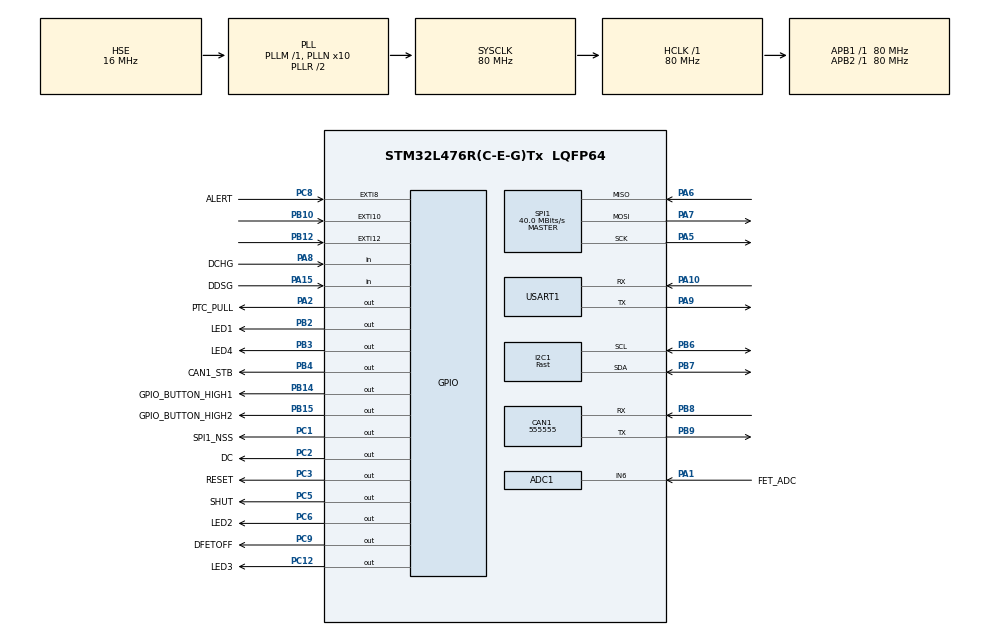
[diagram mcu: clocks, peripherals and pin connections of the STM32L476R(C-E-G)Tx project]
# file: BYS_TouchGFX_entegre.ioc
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ADC1.Channel-4\#ChannelRegularConversion=ADC_CHANNEL_6
ADC1.ClockPrescaler=ADC_CLOCK_ASYNC_DIV4
ADC1.NbrOfConversionFlag=1
ADC1.OffsetNumber-4\#ChannelRegularConversion=ADC_OFFSET_NONE
ADC1.Rank-4\#ChannelRegularConversion=1
ADC1.SamplingTime-4\#ChannelRegularConversion=ADC_SAMPLETIME_24CYCLES_5
ADC1.master=1
CAN1.BS1=CAN_BS1_4TQ
CAN1.BS2=CAN_BS2_4TQ
CAN1.CalculateBaudRate=555555
CAN1.CalculateTimeBit=1800
CAN1.CalculateTimeQuantum=200.0
Dma.Request0=SPI1_TX
Dma.SPI1_TX.0.Direction=DMA_MEMORY_TO_PERIPH
Dma.SPI1_TX.0.Instance=DMA1_Channel3
Dma.SPI1_TX.0.MemDataAlignment=DMA_MDATAALIGN_BYTE
Dma.SPI1_TX.0.MemInc=DMA_MINC_ENABLE
Dma.SPI1_TX.0.Mode=DMA_NORMAL
Dma.SPI1_TX.0.PeriphDataAlignment=DMA_PDATAALIGN_BYTE
Dma.SPI1_TX.0.PeriphInc=DMA_PINC_DISABLE
Dma.SPI1_TX.0.Priority=DMA_PRIORITY_LOW
I2C1.CustomTiming=Disabled
I2C1.I2C_Speed_Mode=I2C_Fast
I2C1.Speed=400
I2C1.Timing=0x00F12981
Mcu.Family=STM32L4
Mcu.Name=STM32L476R(C-E-G)Tx
Mcu.Package=LQFP64
NVIC.DMA1_Channel3_IRQn=true\:0\:0\:false\:false\:true\:false\:true\:true
NVIC.EXTI15_10_IRQn=true\:0\:0\:false\:false\:true\:true\:true\:true
NVIC.EXTI9_5_IRQn=true\:0\:0\:false\:false\:true\:true\:true\:true
NVIC.PriorityGroup=NVIC_PRIORITYGROUP_4
NVIC.SPI1_IRQn=true\:0\:0\:false\:false\:true\:true\:true\:true
NVIC.TIM2_IRQn=true\:0\:0\:false\:false\:true\:true\:true\:true
NVIC.TIM8_UP_IRQn=true\:15\:0\:false\:false\:true\:false\:true\:true
NVIC.TimeBase=TIM8_UP_IRQn
NVIC.TimeBaseIP=TIM8
PA1.GPIO_Label=FET_ADC
PA1.Signal=ADCx_IN6
PA10.Mode=Asynchronous
PA10.Signal=USART1_RX
PA13\ (JTMS-SWDIO).Mode=Serial_Wire
PA13\ (JTMS-SWDIO).Signal=SYS_JTMS-SWDIO
PA14\ (JTCK-SWCLK).Mode=Serial_Wire
PA14\ (JTCK-SWCLK).Signal=SYS_JTCK-SWCLK
PA15\ (JTDI).GPIO_Label=DDSG
PA15\ (JTDI).GPIO_PuPd=GPIO_PULLDOWN
PA15\ (JTDI).Signal=GPIO_Input
PA2.GPIO_Label=PTC_PULL
PA2.GPIO_PuPd=GPIO_PULLDOWN
PA2.PinState=GPIO_PIN_RESET
PA2.Signal=GPIO_Output
PA5.Mode=Full_Duplex_Master
PA5.Signal=SPI1_SCK
PA6.Mode=Full_Duplex_Master
PA6.Signal=SPI1_MISO
PA7.Mode=Full_Duplex_Master
PA7.Signal=SPI1_MOSI
PA8.GPIO_Label=DCHG
PA8.GPIO_PuPd=GPIO_PULLDOWN
PA8.Signal=GPIO_Input
PA9.Mode=Asynchronous
PA9.Signal=USART1_TX
PB10.GPIO_PuPd=GPIO_PULLDOWN
PB10.Signal=GPXTI10
PB12.GPIO_PuPd=GPIO_PULLDOWN
PB12.Signal=GPXTI12
PB14.GPIO_Label=GPIO_BUTTON_HIGH1
PB14.GPIO_PuPd=GPIO_PULLDOWN
PB14.PinState=GPIO_PIN_SET
PB14.Signal=GPIO_Output
PB15.GPIO_Label=GPIO_BUTTON_HIGH2
PB15.GPIO_PuPd=GPIO_PULLDOWN
PB15.PinState=GPIO_PIN_SET
PB15.Signal=GPIO_Output
PB2.GPIO_Label=LED1
PB2.GPIO_PuPd=GPIO_PULLDOWN
PB2.Signal=GPIO_Output
PB3\ (JTDO-TRACESWO).GPIO_Label=LED4
PB3\ (JTDO-TRACESWO).GPIO_PuPd=GPIO_PULLDOWN
PB3\ (JTDO-TRACESWO).Signal=GPIO_Output
PB4\ (NJTRST).GPIO_Label=CAN1_STB
PB4\ (NJTRST).Signal=GPIO_Output
PB6.Mode=I2C
PB6.Signal=I2C1_SCL
PB7.Mode=I2C
PB7.Signal=I2C1_SDA
PB8.Mode=CAN_Activate
PB8.Signal=CAN1_RX
PB9.Mode=CAN_Activate
PB9.Signal=CAN1_TX
PC1.GPIO_Label=SPI1_NSS
PC1.Signal=GPIO_Output
PC12.GPIO_Label=LED3
PC12.GPIO_PuPd=GPIO_PULLDOWN
PC12.Signal=GPIO_Output
PC2.GPIO_Label=DC
PC2.Signal=GPIO_Output
PC3.GPIO_Label=RESET
PC3.Signal=GPIO_Output
PC5.GPIO_Label=SHUT
PC5.Signal=GPIO_Output
PC6.GPIO_Label=LED2
PC6.GPIO_PuPd=GPIO_PULLDOWN
PC6.Signal=GPIO_Output
PC8.GPIO_Label=ALERT
PC8.Signal=GPXTI8
PC9.GPIO_Label=DFETOFF
PC9.GPIO_PuPd=GPIO_NOPULL
PC9.Signal=GPIO_Output
PH0-OSC_IN\ (PH0).Mode=HSE-External-Oscillator
PH0-OSC_IN\ (PH0).Signal=RCC_OSC_IN
PH1-OSC_OUT\ (PH1).Mode=HSE-External-Oscillator
PH1-OSC_OUT\ (PH1).Signal=RCC_OSC_OUT
ProjectManager.HeapSize=0x200
ProjectManager.StackSize=0x400
ProjectManager.TargetToolchain=STM32CubeIDE
RCC.ADCFreq_Value=64000000
RCC.AHBFreq_Value=80000000
RCC.APB1Freq_Value=80000000
RCC.APB1TimFreq_Value=80000000
RCC.APB2Freq_Value=80000000
RCC.APB2TimFreq_Value=80000000
RCC.CortexFreq_Value=80000000
RCC.HCLKFreq_Value=80000000
RCC.HSE_VALUE=16000000
RCC.HSI_VALUE=16000000
RCC.LSE_VALUE=32768
RCC.MSI_VALUE=4000000
RCC.PLLN=10
RCC.PLLSourceVirtual=RCC_PLLSOURCE_HSE
RCC.SYSCLKFreq_VALUE=80000000
RCC.SYSCLKSource=RCC_SYSCLKSOURCE_PLLCLK
RCC.USBFreq_Value=64000000
RCC.VCOOutputFreq_Value=160000000
SH.ADCx_IN6.0=ADC1_IN6,IN6-Single-Ended
SPI1.BaudRatePrescaler=SPI_BAUDRATEPRESCALER_2
SPI1.CalculateBaudRate=40.0 MBits/s
SPI1.DataSize=SPI_DATASIZE_8BIT
SPI1.Direction=SPI_DIRECTION_2LINES
SPI1.Mode=SPI_MODE_MASTER
SPI1.VirtualType=VM_MASTER
STMicroelectronics.X-CUBE-TOUCHGFX.4.24.1.ApplicationCcGraphicsJjApplication=TouchGFXOoGenerator
STMicroelectronics.X-CUBE-TOUCHGFX.4.24.1.tgfx_buffering_strategy=Partial
STMicroelectronics.X-CUBE-TOUCHGFX.4.24.1.tgfx_custom_height=240
STMicroelectronics.X-CUBE-TOUCHGFX.4.24.1.tgfx_custom_width=320
STMicroelectronics.X-CUBE-TOUCHGFX.4.24.1_IsPackSelfContextualization=true
TIM1.Prescaler=80-1
TIM2.Period=30769-1
TIM2.Prescaler=80-1
USART1.VirtualMode-Asynchronous=VM_ASYNC
VP_CRC_VS_CRC.Mode=CRC_Activate
VP_STMicroelectronics.X-CUBE-TOUCHGFX_VS_GraphicsJjApplication_4.24.1.Mode=GraphicsJjApplication
VP_SYS_VS_tim8.Mode=TIM8
VP_TIM1_VS_ClockSourceINT.Mode=Internal
VP_TIM2_VS_ClockSourceINT.Mode=Internal
board=custom

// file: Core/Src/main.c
/* USER CODE BEGIN Header */
/**
  ******************************************************************************
  * @file           : main.c
  * @brief          : Main program body
  ******************************************************************************
  * @attention
  *
  * Copyright (c) 2024 STMicroelectronics.
  * All rights reserved.
  *
  * This software is licensed under terms that can be found in the LICENSE file
  * in the root directory of this software component.
  * If no LICENSE file comes with this software, it is provided AS-IS.
  *
  ******************************************************************************
  */
/* USER CODE END Header */
#include "main.h"
#include "app_touchgfx.h"

/* USER CODE BEGIN Includes */

#include <stdio.h>
#include "ili9341.h"
#include "BQ76952.h"

/* USER CODE END Includes */

/* USER CODE BEGIN PD */

#define DEV_ADDR  0x10			    // BQ769x2 address is 0x10 including R/W bit or 0x8 as 7-bit address
#define CRC_Mode 0  		    	// 0 for disabled, 1 for enabled
#define MAX_BUFFER_SIZE 10
#define R 0						    // Read; Used in DirectCommands and Subcommands functions
#define W 1 				    	// Write; Used in DirectCommands and Subcommands functions
#define W2 2 				     	// Write data with two bytes; Used in Subcommands function

uint16_t AlarmBits = 0x00;
uint16_t Stack_Voltage = 0x00;
uint16_t Pack_Voltage = 0x00;
uint16_t LD_Voltage = 0x00;
int16_t Pack_Current = 0x00;

uint8_t value_SafetyStatusA;  						// Safety Status Register A
uint8_t value_SafetyStatusB;  						// Safety Status Register B
uint8_t value_SafetyStatusC;  						// Safety Status Register C
uint8_t value_PFStatusA;   							// Permanent Fail Status Register A
uint8_t value_PFStatusB;  							// Permanent Fail Status Register B
uint8_t value_PFStatusC;   							// Permanent Fail Status Register C
uint8_t FET_Status;  								// FET Status register contents  - Shows states of FETs
uint16_t CB_ActiveCells;  							// Cell Balancing Active Cells

uint8_t	UV_Fault = 0;   								   	 // under-voltage fault state
uint8_t	OV_Fault = 0;  										 // over-voltage fault state
uint8_t	SCD_Fault = 0;									     // short-circuit fault state
uint8_t	OCD_Fault = 0;  									 // over-current fault state
uint8_t ProtectionsTriggered = 0;                            // Set to 1 if any protection triggers

uint8_t LD_ON = 0;					                         // Load Detect status bit
uint8_t DSG = 0;  					                         // discharge FET state
uint8_t CHG = 0;  					                         // charge FET state
uint8_t PCHG = 0; 					                         // pre-charge FET state
uint8_t PDSG = 0; 					                         // pre-discharge FET state
uint8_t DDSG_Pin_Status = 0; 								//(+-+-+) FET STATUS register
uint8_t DCHG_Pin_Status = 0;								//(+-+-+) FET STATUS register
uint8_t ALERT_Pin_Status = 0;								//(+-+-+) FET STATUS register

uint32_t AccumulatedCharge_Int; 							// in BQ769x2_READPASSQ func
uint32_t AccumulatedCharge_Frac;							// in BQ769x2_READPASSQ func
uint32_t AccumulatedCharge_Time;

uint16_t CellVoltage [16] = {0x00,0x00,0x00,0x00,0x00,0x00,0x00,0x00,0x00,0x00,0x00,0x00,0x00,0x00,0x00,0x00};

/* USER CODE END PD */

ADC_HandleTypeDef hadc1;

CAN_HandleTypeDef hcan1;

CRC_HandleTypeDef hcrc;

I2C_HandleTypeDef hi2c1;

SPI_HandleTypeDef hspi1;
DMA_HandleTypeDef hdma_spi1_tx;

TIM_HandleTypeDef htim1;
TIM_HandleTypeDef htim2;

UART_HandleTypeDef huart1;

void SystemClock_Config(void);
static void MX_GPIO_Init(void);
static void MX_DMA_Init(void);
static void MX_SPI1_Init(void);
static void MX_CRC_Init(void);
static void MX_TIM2_Init(void);
static void MX_USART1_UART_Init(void);
static void MX_ADC1_Init(void);
static void MX_CAN1_Init(void);
static void MX_I2C1_Init(void);
static void MX_TIM1_Init(void);

/* USER CODE BEGIN 0 */

// ********************************* End of BQ769x2 Measurement Commands   *****************************************

__IO uint8_t User_ButtonState1 = 0;
__IO uint8_t User_ButtonState2 = 0;

/* touchgfx variables start */
float cell1 = 0.000;
float cell2 = 0.000;
float cell3 = 0.000;
float cell4 = 0.000;
float cell5 = 0.000;
float cell6 = 0.000;
float cell7 = 0.000;
float cell8 = 0.000;
float cell9 = 0.000;
float cell10 = 0.000;
float cell11 = 0.000;
float cell12 = 0.000;
float cell13 = 0.000;
float cell14 = 0.000;
float cell15 = 0.000;
float cell16 = 0.000;
float totalcell;
int maxCellDiff = 0;
float packVoltage = 0.000;
int loadDetectVoltage;

uint16_t cellBalancingStatus;	//default alarm mask reg
float Temperature [4] = {0,0,0,0};

float temperatureTS1;
float temperatureTS3;
float temperatureHDQ;
float temperatureCFETOFF;
float temperatureMosfet = 44.200;

int capacityIntro;
int chargeCurrent;
int dischargeCurrent;

int SoCstate, SoHstate;

/* touchgfx variables end */

uint32_t DebounceCurrentTime;
uint32_t DebouncePreviousTime;

/* USER CODE END 0 */

int main(void)
{

  /* MCU Configuration--------------------------------------------------------*/

  /* Reset of all peripherals, Initializes the Flash interface and the Systick. */
  HAL_Init();

  /* Configure the system clock */
  SystemClock_Config();

  /* Initialize all configured peripherals */
  MX_GPIO_Init();
  MX_DMA_Init();
  MX_SPI1_Init();
  MX_CRC_Init();
  MX_TIM2_Init();
  MX_USART1_UART_Init();
  MX_ADC1_Init();
  MX_CAN1_Init();
  MX_I2C1_Init();
  MX_TIM1_Init();
  MX_TouchGFX_Init();
  /* USER CODE BEGIN 2 */

  // Start timer
  HAL_TIM_Base_Start(&htim1);
  HAL_TIM_Base_Start_IT(&htim2);
  ILI9341_Init();

  HAL_GPIO_WritePin(GPIOC, GPIO_PIN_5, GPIO_PIN_RESET);  //RST_SHUT
  HAL_GPIO_WritePin(GPIOC, GPIO_PIN_9, GPIO_PIN_RESET);  //DFETOFF
  delayUS(10000);

  CommandSubcommands(BQ769x2_RESET);
  delayUS(60000);
  BQ769x2_Init();
  delayUS(10000);
  CommandSubcommands(FET_ENABLE);
  delayUS(10000);
  CommandSubcommands(SLEEP_DISABLE);

  delayUS(60000); delayUS(60000); delayUS(60000); delayUS(60000);  //wait to start measurements after FETs close

  if(HAL_I2C_IsDeviceReady(&hi2c1, 0x10, 1, 100)== HAL_OK)
   {
 	  HAL_GPIO_WritePin(GPIOB, GPIO_PIN_3, GPIO_PIN_SET);
 	 HAL_GPIO_WritePin(GPIOC, GPIO_PIN_12, GPIO_PIN_RESET);

   }
   else
   {
 	  HAL_GPIO_WritePin(GPIOC, GPIO_PIN_12, GPIO_PIN_SET);
 	 HAL_GPIO_WritePin(GPIOB, GPIO_PIN_3, GPIO_PIN_RESET);

   }

  /* USER CODE END 2 */

  /* Infinite loop */
  while (1)
  {

  MX_TouchGFX_Process();
    /* USER CODE BEGIN 3 */

  		AlarmBits = BQ769x2_ReadAlarmStatus();				//default alarm mask registeri fonksiyonların durumuna bakılır cb gibi
  		cellBalancingStatus = (AlarmBits & 0x04);
  		BQ769x2_ReadFETStatus();

  		if (AlarmBits & 0x80) {  							// 7.bit FULLSCAN'ın tamamlanıp tamamlanmadığını kontrol et.
        		BQ769x2_ReadAllVoltages();

        		Pack_Current = BQ769x2_ReadCurrent();
        		Temperature[0] = BQ769x2_ReadTemperature(TS1Temperature);
        		Temperature[1] = BQ769x2_ReadTemperature(TS3Temperature);
        		Temperature[2] = BQ769x2_ReadTemperature(HDQTemperature);		//(+-+-+)  EKLENDİ
        		Temperature[3] = BQ769x2_ReadTemperature(CFETOFFTemperature);	//(+-+-+)  EKLENDİ
        		DirectCommands(AlarmStatus, 0x0080, W);  						// fullscan bitini clear et         ?????

        		cell1 = (float) (CellVoltage[0] / 1000.0f);
        		cell2 = (float) (CellVoltage[1] / 1000.0f);
        		cell3 = (float) (CellVoltage[2] / 1000.0f);
        		cell4 = (float) (CellVoltage[3] / 1000.0f);
        		cell5 = (float) (CellVoltage[4] / 1000.0f);
        		cell6 = (float) (CellVoltage[5] / 1000.0f);
        		cell7 = (float) (CellVoltage[6] / 1000.0f);
        		cell8 = (float) (CellVoltage[7] / 1000.0f);
        		cell9 = (float) (CellVoltage[8] / 1000.0f);
        		cell10 = (float) (CellVoltage[9] / 1000.0f);
        		cell11 = (float) (CellVoltage[10] / 1000.0f);
        		cell12 = (float) (CellVoltage[11] / 1000.0f);
        		cell13 = (float) (CellVoltage[12] / 1000.0f);
        		cell14 = (float) (CellVoltage[13] / 1000.0f);
        		cell15 = (float) (CellVoltage[14] / 1000.0f);
        		cell16 = (float) (CellVoltage[15] / 1000.0f);
        		totalcell = (float) (Stack_Voltage / 1000.0f);					//tamam

        		packVoltage = (float) (Pack_Voltage / 1000.0f);				//tamam
        		loadDetectVoltage = (float) (LD_Voltage / 1000.0f);

        		maxCellDiff = find_max_difference(CellVoltage, 16);			//hücreler arası max fark voltajı

        		temperatureTS1 = Temperature[0];
        		temperatureTS3 = Temperature[1];
        		temperatureHDQ = Temperature[2];
        		temperatureCFETOFF = Temperature[3];

        		if (Pack_Current > 0) {
        		    chargeCurrent = Pack_Current;
        		    dischargeCurrent = 0;
        		}

        		else if (Pack_Current < 0) {
        		    dischargeCurrent = -Pack_Current;
        		    chargeCurrent = 0;
        		    }

        		else {
        		    chargeCurrent = 0;
        		    dischargeCurrent = 0;
        		}

  		}

  		if (AlarmBits & 0xC000) {  							// Eğer Alarm status registerinda safety status bitleri görünüyorsa SSBC SSA bitleri KONTROLÜ SAFETY STATUS A B C
  			BQ769x2_ReadSafetyStatus(); 					// protectiontrigger oku
  			if (ProtectionsTriggered & 1) {
  				HAL_GPIO_WritePin(GPIOB,GPIO_PIN_2 , GPIO_PIN_SET); }	// protection triggerlandığında led aç PC12 LED 3
  				DirectCommands(AlarmStatus, 0xF800, W);				    // Koruma durumu alarm bitlerini sıfırla    ?????
  			}
  		else
  		{
  			if (ProtectionsTriggered & 1) {
  				BQ769x2_ReadSafetyStatus();
  				if (!(ProtectionsTriggered & 1))
  				{
  					HAL_GPIO_WritePin(GPIOB, GPIO_PIN_2, GPIO_PIN_RESET);
  				}
  			}		 // Güvenlik Durumu resetlendiğinde (koruma koşulu artık mevcut değilse) LED'i kapat  PC12 LED 3
  		}

  		delayUS(20000);  // 20ms'de bir döngüyü devam ettir

  }
  /* USER CODE END 3 */
}

void SystemClock_Config(void)
{
  RCC_OscInitTypeDef RCC_OscInitStruct = {0};
  RCC_ClkInitTypeDef RCC_ClkInitStruct = {0};

  /** Configure the main internal regulator output voltage
  */
  if (HAL_PWREx_ControlVoltageScaling(PWR_REGULATOR_VOLTAGE_SCALE1) != HAL_OK)
  {
    Error_Handler();
  }

  /** Initializes the RCC Oscillators according to the specified parameters
  * in the RCC_OscInitTypeDef structure.
  */
  RCC_OscInitStruct.OscillatorType = RCC_OSCILLATORTYPE_HSE;
  RCC_OscInitStruct.HSEState = RCC_HSE_ON;
  RCC_OscInitStruct.PLL.PLLState = RCC_PLL_ON;
  RCC_OscInitStruct.PLL.PLLSource = RCC_PLLSOURCE_HSE;
  RCC_OscInitStruct.PLL.PLLM = 1;
  RCC_OscInitStruct.PLL.PLLN = 10;
  RCC_OscInitStruct.PLL.PLLP = RCC_PLLP_DIV7;
  RCC_OscInitStruct.PLL.PLLQ = RCC_PLLQ_DIV2;
  RCC_OscInitStruct.PLL.PLLR = RCC_PLLR_DIV2;
  if (HAL_RCC_OscConfig(&RCC_OscInitStruct) != HAL_OK)
  {
    Error_Handler();
  }

  /** Initializes the CPU, AHB and APB buses clocks
  */
  RCC_ClkInitStruct.ClockType = RCC_CLOCKTYPE_HCLK|RCC_CLOCKTYPE_SYSCLK
                              |RCC_CLOCKTYPE_PCLK1|RCC_CLOCKTYPE_PCLK2;
  RCC_ClkInitStruct.SYSCLKSource = RCC_SYSCLKSOURCE_PLLCLK;
  RCC_ClkInitStruct.AHBCLKDivider = RCC_SYSCLK_DIV1;
  RCC_ClkInitStruct.APB1CLKDivider = RCC_HCLK_DIV1;
  RCC_ClkInitStruct.APB2CLKDivider = RCC_HCLK_DIV1;

  if (HAL_RCC_ClockConfig(&RCC_ClkInitStruct, FLASH_LATENCY_4) != HAL_OK)
  {
    Error_Handler();
  }
}

static void MX_ADC1_Init(void)
{

  ADC_MultiModeTypeDef multimode = {0};
  ADC_ChannelConfTypeDef sConfig = {0};

  /** Common config
  */
  hadc1.Instance = ADC1;
  hadc1.Init.ClockPrescaler = ADC_CLOCK_ASYNC_DIV4;
  hadc1.Init.Resolution = ADC_RESOLUTION_12B;
  hadc1.Init.DataAlign = ADC_DATAALIGN_RIGHT;
  hadc1.Init.ScanConvMode = ADC_SCAN_DISABLE;
  hadc1.Init.EOCSelection = ADC_EOC_SINGLE_CONV;
  hadc1.Init.LowPowerAutoWait = DISABLE;
  hadc1.Init.ContinuousConvMode = DISABLE;
  hadc1.Init.NbrOfConversion = 1;
  hadc1.Init.DiscontinuousConvMode = DISABLE;
  hadc1.Init.ExternalTrigConv = ADC_SOFTWARE_START;
  hadc1.Init.ExternalTrigConvEdge = ADC_EXTERNALTRIGCONVEDGE_NONE;
  hadc1.Init.DMAContinuousRequests = DISABLE;
  hadc1.Init.Overrun = ADC_OVR_DATA_PRESERVED;
  hadc1.Init.OversamplingMode = DISABLE;
  if (HAL_ADC_Init(&hadc1) != HAL_OK)
  {
    Error_Handler();
  }

  /** Configure the ADC multi-mode
  */
  multimode.Mode = ADC_MODE_INDEPENDENT;
  if (HAL_ADCEx_MultiModeConfigChannel(&hadc1, &multimode) != HAL_OK)
  {
    Error_Handler();
  }

  /** Configure Regular Channel
  */
  sConfig.Channel = ADC_CHANNEL_6;
  sConfig.Rank = ADC_REGULAR_RANK_1;
  sConfig.SamplingTime = ADC_SAMPLETIME_24CYCLES_5;
  sConfig.SingleDiff = ADC_SINGLE_ENDED;
  sConfig.OffsetNumber = ADC_OFFSET_NONE;
  sConfig.Offset = 0;
  if (HAL_ADC_ConfigChannel(&hadc1, &sConfig) != HAL_OK)
  {
    Error_Handler();
  }

}

static void MX_CAN1_Init(void)
{

  hcan1.Instance = CAN1;
  hcan1.Init.Prescaler = 16;
  hcan1.Init.Mode = CAN_MODE_NORMAL;
  hcan1.Init.SyncJumpWidth = CAN_SJW_1TQ;
  hcan1.Init.TimeSeg1 = CAN_BS1_4TQ;
  hcan1.Init.TimeSeg2 = CAN_BS2_4TQ;
  hcan1.Init.TimeTriggeredMode = DISABLE;
  hcan1.Init.AutoBusOff = DISABLE;
  hcan1.Init.AutoWakeUp = DISABLE;
  hcan1.Init.AutoRetransmission = DISABLE;
  hcan1.Init.ReceiveFifoLocked = DISABLE;
  hcan1.Init.TransmitFifoPriority = DISABLE;
  if (HAL_CAN_Init(&hcan1) != HAL_OK)
  {
    Error_Handler();
  }

}

static void MX_CRC_Init(void)
{

  hcrc.Instance = CRC;
  hcrc.Init.DefaultPolynomialUse = DEFAULT_POLYNOMIAL_ENABLE;
  hcrc.Init.DefaultInitValueUse = DEFAULT_INIT_VALUE_ENABLE;
  hcrc.Init.InputDataInversionMode = CRC_INPUTDATA_INVERSION_NONE;
  hcrc.Init.OutputDataInversionMode = CRC_OUTPUTDATA_INVERSION_DISABLE;
  hcrc.InputDataFormat = CRC_INPUTDATA_FORMAT_BYTES;
  if (HAL_CRC_Init(&hcrc) != HAL_OK)
  {
    Error_Handler();
  }

}

static void MX_I2C1_Init(void)
{

  hi2c1.Instance = I2C1;
  hi2c1.Init.Timing = 0x00F12981;
  hi2c1.Init.OwnAddress1 = 0;
  hi2c1.Init.AddressingMode = I2C_ADDRESSINGMODE_7BIT;
  hi2c1.Init.DualAddressMode = I2C_DUALADDRESS_DISABLE;
  hi2c1.Init.OwnAddress2 = 0;
  hi2c1.Init.OwnAddress2Masks = I2C_OA2_NOMASK;
  hi2c1.Init.GeneralCallMode = I2C_GENERALCALL_DISABLE;
  hi2c1.Init.NoStretchMode = I2C_NOSTRETCH_DISABLE;
  if (HAL_I2C_Init(&hi2c1) != HAL_OK)
  {
    Error_Handler();
  }

  /** Configure Analogue filter
  */
  if (HAL_I2CEx_ConfigAnalogFilter(&hi2c1, I2C_ANALOGFILTER_ENABLE) != HAL_OK)
  {
    Error_Handler();
  }

  /** Configure Digital filter
  */
  if (HAL_I2CEx_ConfigDigitalFilter(&hi2c1, 0) != HAL_OK)
  {
    Error_Handler();
  }

}

static void MX_SPI1_Init(void)
{

  /* SPI1 parameter configuration*/
  hspi1.Instance = SPI1;
  hspi1.Init.Mode = SPI_MODE_MASTER;
  hspi1.Init.Direction = SPI_DIRECTION_2LINES;
  hspi1.Init.DataSize = SPI_DATASIZE_8BIT;
  hspi1.Init.CLKPolarity = SPI_POLARITY_LOW;
  hspi1.Init.CLKPhase = SPI_PHASE_1EDGE;
  hspi1.Init.NSS = SPI_NSS_SOFT;
  hspi1.Init.BaudRatePrescaler = SPI_BAUDRATEPRESCALER_2;
  hspi1.Init.FirstBit = SPI_FIRSTBIT_MSB;
  hspi1.Init.TIMode = SPI_TIMODE_DISABLE;
  hspi1.Init.CRCCalculation = SPI_CRCCALCULATION_DISABLE;
  hspi1.Init.CRCPolynomial = 7;
  hspi1.Init.CRCLength = SPI_CRC_LENGTH_DATASIZE;
  hspi1.Init.NSSPMode = SPI_NSS_PULSE_ENABLE;
  if (HAL_SPI_Init(&hspi1) != HAL_OK)
  {
    Error_Handler();
  }

}

static void MX_TIM1_Init(void)
{

  TIM_ClockConfigTypeDef sClockSourceConfig = {0};
  TIM_MasterConfigTypeDef sMasterConfig = {0};

  htim1.Instance = TIM1;
  htim1.Init.Prescaler = 80-1;
  htim1.Init.CounterMode = TIM_COUNTERMODE_UP;
  htim1.Init.Period = 65535;
  htim1.Init.ClockDivision = TIM_CLOCKDIVISION_DIV1;
  htim1.Init.RepetitionCounter = 0;
  htim1.Init.AutoReloadPreload = TIM_AUTORELOAD_PRELOAD_DISABLE;
  if (HAL_TIM_Base_Init(&htim1) != HAL_OK)
  {
    Error_Handler();
  }
  sClockSourceConfig.ClockSource = TIM_CLOCKSOURCE_INTERNAL;
  if (HAL_TIM_ConfigClockSource(&htim1, &sClockSourceConfig) != HAL_OK)
  {
    Error_Handler();
  }
  sMasterConfig.MasterOutputTrigger = TIM_TRGO_RESET;
  sMasterConfig.MasterOutputTrigger2 = TIM_TRGO2_RESET;
  sMasterConfig.MasterSlaveMode = TIM_MASTERSLAVEMODE_DISABLE;
  if (HAL_TIMEx_MasterConfigSynchronization(&htim1, &sMasterConfig) != HAL_OK)
  {
    Error_Handler();
  }

}

static void MX_TIM2_Init(void)
{

  TIM_ClockConfigTypeDef sClockSourceConfig = {0};
  TIM_MasterConfigTypeDef sMasterConfig = {0};

  htim2.Instance = TIM2;
  htim2.Init.Prescaler = 80-1;
  htim2.Init.CounterMode = TIM_COUNTERMODE_UP;
  htim2.Init.Period = 30769-1;
  htim2.Init.ClockDivision = TIM_CLOCKDIVISION_DIV1;
  htim2.Init.AutoReloadPreload = TIM_AUTORELOAD_PRELOAD_DISABLE;
  if (HAL_TIM_Base_Init(&htim2) != HAL_OK)
  {
    Error_Handler();
  }
  sClockSourceConfig.ClockSource = TIM_CLOCKSOURCE_INTERNAL;
  if (HAL_TIM_ConfigClockSource(&htim2, &sClockSourceConfig) != HAL_OK)
  {
    Error_Handler();
  }
  sMasterConfig.MasterOutputTrigger = TIM_TRGO_RESET;
  sMasterConfig.MasterSlaveMode = TIM_MASTERSLAVEMODE_DISABLE;
  if (HAL_TIMEx_MasterConfigSynchronization(&htim2, &sMasterConfig) != HAL_OK)
  {
    Error_Handler();
  }

}

static void MX_USART1_UART_Init(void)
{

  huart1.Instance = USART1;
  huart1.Init.BaudRate = 115200;
  huart1.Init.WordLength = UART_WORDLENGTH_8B;
  huart1.Init.StopBits = UART_STOPBITS_1;
  huart1.Init.Parity = UART_PARITY_NONE;
  huart1.Init.Mode = UART_MODE_TX_RX;
  huart1.Init.HwFlowCtl = UART_HWCONTROL_NONE;
  huart1.Init.OverSampling = UART_OVERSAMPLING_16;
  huart1.Init.OneBitSampling = UART_ONE_BIT_SAMPLE_DISABLE;
  huart1.AdvancedInit.AdvFeatureInit = UART_ADVFEATURE_NO_INIT;
  if (HAL_UART_Init(&huart1) != HAL_OK)
  {
    Error_Handler();
  }

}

static void MX_DMA_Init(void)
{

  /* DMA controller clock enable */
  __HAL_RCC_DMA1_CLK_ENABLE();

  /* DMA interrupt init */
  /* DMA1_Channel3_IRQn interrupt configuration */
  HAL_NVIC_SetPriority(DMA1_Channel3_IRQn, 0, 0);
  HAL_NVIC_EnableIRQ(DMA1_Channel3_IRQn);

}

static void MX_GPIO_Init(void)
{
  GPIO_InitTypeDef GPIO_InitStruct = {0};

  /* GPIO Ports Clock Enable */
  __HAL_RCC_GPIOH_CLK_ENABLE();
  __HAL_RCC_GPIOC_CLK_ENABLE();
  __HAL_RCC_GPIOA_CLK_ENABLE();
  __HAL_RCC_GPIOB_CLK_ENABLE();

  /*Configure GPIO pin Output Level */
  HAL_GPIO_WritePin(GPIOC, SPI1_NSS_Pin|DC_Pin|RESET_Pin|SHUT_Pin
                          |LED2_Pin|DFETOFF_Pin|LED3_Pin, GPIO_PIN_RESET);

  /*Configure GPIO pin Output Level */
  HAL_GPIO_WritePin(PTC_PULL_GPIO_Port, PTC_PULL_Pin, GPIO_PIN_RESET);

  /*Configure GPIO pin Output Level */
  HAL_GPIO_WritePin(GPIOB, LED1_Pin|LED4_Pin|CAN1_STB_Pin, GPIO_PIN_RESET);

  /*Configure GPIO pin Output Level */
  HAL_GPIO_WritePin(GPIOB, GPIO_BUTTON_HIGH1_Pin|GPIO_BUTTON_HIGH2_Pin, GPIO_PIN_SET);

  /*Configure GPIO pins : SPI1_NSS_Pin DC_Pin RESET_Pin SHUT_Pin
                           DFETOFF_Pin */
  GPIO_InitStruct.Pin = SPI1_NSS_Pin|DC_Pin|RESET_Pin|SHUT_Pin
                          |DFETOFF_Pin;
  GPIO_InitStruct.Mode = GPIO_MODE_OUTPUT_PP;
  GPIO_InitStruct.Pull = GPIO_NOPULL;
  GPIO_InitStruct.Speed = GPIO_SPEED_FREQ_LOW;
  HAL_GPIO_Init(GPIOC, &GPIO_InitStruct);

  /*Configure GPIO pin : PTC_PULL_Pin */
  GPIO_InitStruct.Pin = PTC_PULL_Pin;
  GPIO_InitStruct.Mode = GPIO_MODE_OUTPUT_PP;
  GPIO_InitStruct.Pull = GPIO_PULLDOWN;
  GPIO_InitStruct.Speed = GPIO_SPEED_FREQ_LOW;
  HAL_GPIO_Init(PTC_PULL_GPIO_Port, &GPIO_InitStruct);

  /*Configure GPIO pins : LED1_Pin GPIO_BUTTON_HIGH1_Pin GPIO_BUTTON_HIGH2_Pin LED4_Pin */
  GPIO_InitStruct.Pin = LED1_Pin|GPIO_BUTTON_HIGH1_Pin|GPIO_BUTTON_HIGH2_Pin|LED4_Pin;
  GPIO_InitStruct.Mode = GPIO_MODE_OUTPUT_PP;
  GPIO_InitStruct.Pull = GPIO_PULLDOWN;
  GPIO_InitStruct.Speed = GPIO_SPEED_FREQ_LOW;
  HAL_GPIO_Init(GPIOB, &GPIO_InitStruct);

  /*Configure GPIO pins : PB10 PB12 */
  GPIO_InitStruct.Pin = GPIO_PIN_10|GPIO_PIN_12;
  GPIO_InitStruct.Mode = GPIO_MODE_IT_RISING;
  GPIO_InitStruct.Pull = GPIO_PULLDOWN;
  HAL_GPIO_Init(GPIOB, &GPIO_InitStruct);

  /*Configure GPIO pins : LED2_Pin LED3_Pin */
  GPIO_InitStruct.Pin = LED2_Pin|LED3_Pin;
  GPIO_InitStruct.Mode = GPIO_MODE_OUTPUT_PP;
  GPIO_InitStruct.Pull = GPIO_PULLDOWN;
  GPIO_InitStruct.Speed = GPIO_SPEED_FREQ_LOW;
  HAL_GPIO_Init(GPIOC, &GPIO_InitStruct);

  /*Configure GPIO pin : ALERT_Pin */
  GPIO_InitStruct.Pin = ALERT_Pin;
  GPIO_InitStruct.Mode = GPIO_MODE_IT_RISING;
  GPIO_InitStruct.Pull = GPIO_NOPULL;
  HAL_GPIO_Init(ALERT_GPIO_Port, &GPIO_InitStruct);

  /*Configure GPIO pins : DCHG_Pin DDSG_Pin */
  GPIO_InitStruct.Pin = DCHG_Pin|DDSG_Pin;
  GPIO_InitStruct.Mode = GPIO_MODE_INPUT;
  GPIO_InitStruct.Pull = GPIO_PULLDOWN;
  HAL_GPIO_Init(GPIOA, &GPIO_InitStruct);

  /*Configure GPIO pin : CAN1_STB_Pin */
  GPIO_InitStruct.Pin = CAN1_STB_Pin;
  GPIO_InitStruct.Mode = GPIO_MODE_OUTPUT_PP;
  GPIO_InitStruct.Pull = GPIO_NOPULL;
  GPIO_InitStruct.Speed = GPIO_SPEED_FREQ_LOW;
  HAL_GPIO_Init(CAN1_STB_GPIO_Port, &GPIO_InitStruct);

  /* EXTI interrupt init*/
  HAL_NVIC_SetPriority(EXTI9_5_IRQn, 0, 0);
  HAL_NVIC_EnableIRQ(EXTI9_5_IRQn);

  HAL_NVIC_SetPriority(EXTI15_10_IRQn, 0, 0);
  HAL_NVIC_EnableIRQ(EXTI15_10_IRQn);

}

/* USER CODE BEGIN 4 */

void HAL_GPIO_EXTI_Callback(uint16_t GPIO_Pin)
{
	DebounceCurrentTime = HAL_GetTick();

	if(GPIO_Pin == GPIO_PIN_10 && (DebounceCurrentTime - DebouncePreviousTime > 500))
	{

		User_ButtonState1 = 0x01;
		DebouncePreviousTime = DebounceCurrentTime;

	}
	if(GPIO_Pin == GPIO_PIN_12 && (DebounceCurrentTime - DebouncePreviousTime > 500))
		{

			User_ButtonState2 = 0x01;
			DebouncePreviousTime = DebounceCurrentTime;
		}
}

/* USER CODE END 4 */

void HAL_TIM_PeriodElapsedCallback(TIM_HandleTypeDef *htim)
{
  /* USER CODE BEGIN Callback 0 */
	extern void touchgfxSignalVSync();

	 if (htim->Instance == TIM2) {
		 touchgfxSignalVSync();

	  }
  /* USER CODE END Callback 0 */
  if (htim->Instance == TIM8) {
    HAL_IncTick();
  }
}

void Error_Handler(void)
{
  __disable_irq();
  while (1)
  {
  }
}
